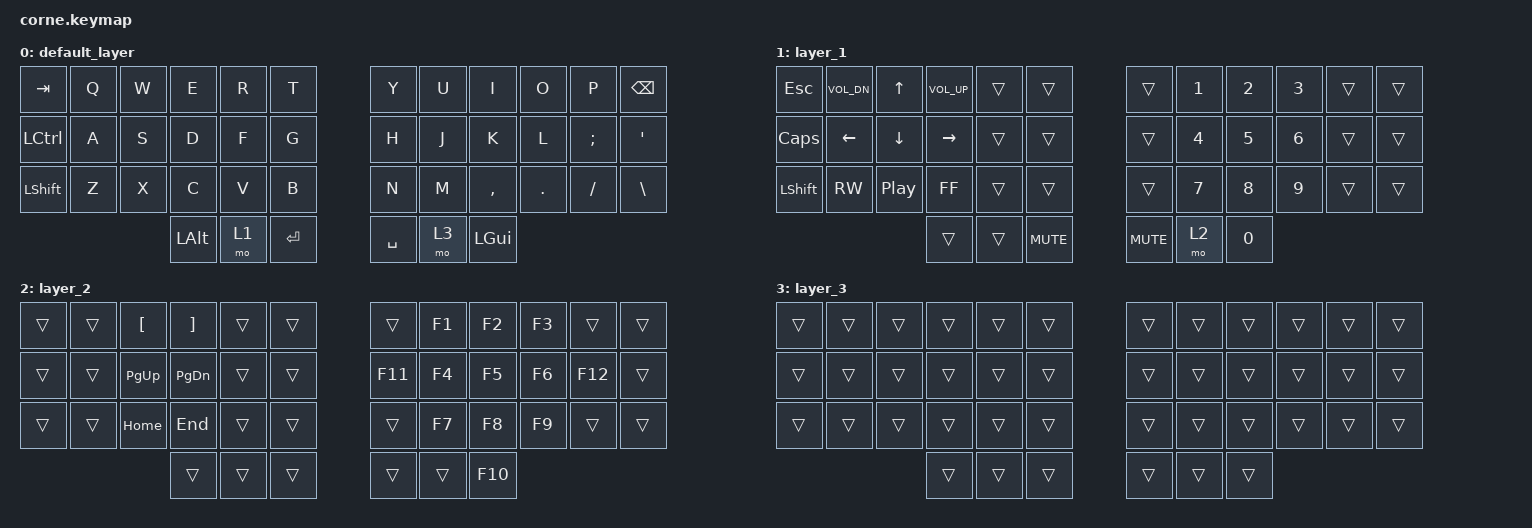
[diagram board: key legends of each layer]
/*
 * Copyright (c) 2020 The ZMK Contributors
 *
 * SPDX-License-Identifier: MIT
 */

#include <behaviors.dtsi>
#include <dt-bindings/zmk/keys.h>

/ {
    keymap {
        compatible = "zmk,keymap";

        default_layer {
            // -----------------------------------------------------------------------------------------
            // |  TAB |  Q  |  W  |  E  |  R  |  T  |   |  Y  |  U   |  I  |  O  |  P  | BKSP |
            // | CTRL |  A  |  S  |  D  |  F  |  G  |   |  H  |  J   |  K  |  L  |  ;  |  '   |
            // | SHFT |  Z  |  X  |  C  |  V  |  B  |   |  N  |  M   |  ,  |  .  |  /  | ESC  |
            //                    | GUI | LWR | SPC |   | ENT | RSE  | ALT |

            bindings = <
&kp TAB    &kp Q  &kp W  &kp E     &kp R  &kp T        &kp Y      &kp U  &kp I         &kp O    &kp P     &kp BSPC
&kp LCTRL  &kp A  &kp S  &kp D     &kp F  &kp G        &kp H      &kp J  &kp K         &kp L    &kp SEMI  &kp SQT
&kp LSHFT  &kp Z  &kp X  &kp C     &kp V  &kp B        &kp N      &kp M  &kp COMMA     &kp DOT  &kp FSLH  &kp BACKSLASH
                         &kp LALT  &mo 1  &kp ENTER    &kp SPACE  &mo 3  &kp LEFT_GUI
            >;
        };

        layer_1 {
            bindings = <
&kp ESC     &kp C_VOL_DN    &kp UP_ARROW      &kp C_VOL_UP  &trans  &trans        &trans      &kp N1  &kp N2  &kp N3  &trans  &trans
&kp CAPS    &kp LEFT_ARROW  &kp DOWN          &kp RIGHT     &trans  &trans        &trans      &kp N4  &kp N5  &kp N6  &trans  &trans
&kp LSHIFT  &kp C_RW        &kp C_PLAY_PAUSE  &kp C_FF      &trans  &trans        &trans      &kp N7  &kp N8  &kp N9  &trans  &trans
                                              &trans        &trans  &kp K_MUTE    &kp K_MUTE  &mo 2   &kp N0
            >;
        };

        layer_2 {
            bindings = <
&trans  &trans  &kp LBKT   &kp RBKT   &trans  &trans    &trans   &kp F1  &kp F2   &kp F3  &trans   &trans
&trans  &trans  &kp PG_UP  &kp PG_DN  &trans  &trans    &kp F11  &kp F4  &kp F5   &kp F6  &kp F12  &trans
&trans  &trans  &kp HOME   &kp END    &trans  &trans    &trans   &kp F7  &kp F8   &kp F9  &trans   &trans
                           &trans     &trans  &trans    &trans   &trans  &kp F10
            >;
        };

        layer_3 {
            bindings = <
&trans  &trans  &trans  &trans  &trans  &trans    &trans  &trans  &trans  &trans  &trans  &trans
&trans  &trans  &trans  &trans  &trans  &trans    &trans  &trans  &trans  &trans  &trans  &trans
&trans  &trans  &trans  &trans  &trans  &trans    &trans  &trans  &trans  &trans  &trans  &trans
                        &trans  &trans  &trans    &trans  &trans  &trans
            >;
        };
    };
};
